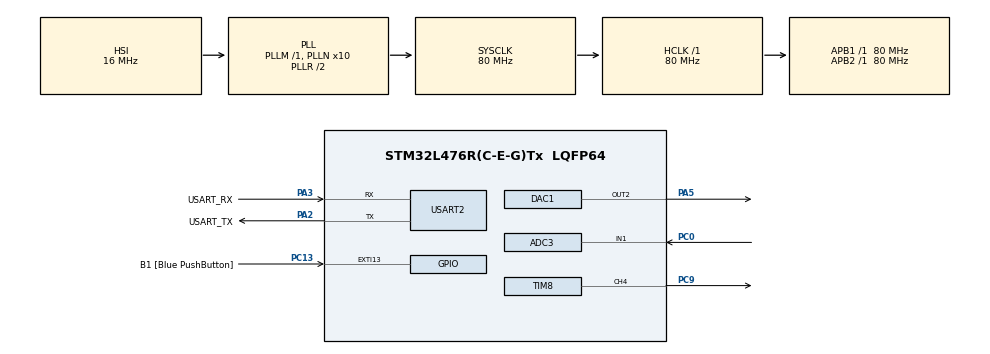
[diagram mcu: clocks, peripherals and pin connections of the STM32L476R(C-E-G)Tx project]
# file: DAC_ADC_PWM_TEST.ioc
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ADC3.Channel-2\#ChannelRegularConversion=ADC_CHANNEL_1
ADC3.ClockPrescaler=ADC_CLOCK_ASYNC_DIV1
ADC3.ContinuousConvMode=DISABLE
ADC3.DMAContinuousRequests=DISABLE
ADC3.DataAlign=ADC_DATAALIGN_RIGHT
ADC3.DiscontinuousConvMode=DISABLE
ADC3.EOCSelection=ADC_EOC_SINGLE_CONV
ADC3.EnableAnalogWatchDog1=false
ADC3.EnableAnalogWatchDog2=false
ADC3.EnableAnalogWatchDog3=false
ADC3.EnableInjectedConversion=DISABLE
ADC3.EnableRegularConversion=ENABLE
ADC3.ExternalTrigConv=ADC_SOFTWARE_START
ADC3.ExternalTrigConvEdge=ADC_EXTERNALTRIGCONVEDGE_NONE
ADC3.LowPowerAutoWait=DISABLE
ADC3.NbrOfConversion=1
ADC3.NbrOfConversionFlag=1
ADC3.OffsetNumber-2\#ChannelRegularConversion=ADC_OFFSET_NONE
ADC3.Overrun=ADC_OVR_DATA_PRESERVED
ADC3.OversamplingMode=DISABLE
ADC3.Rank-2\#ChannelRegularConversion=1
ADC3.Resolution=ADC_RESOLUTION_12B
ADC3.SamplingTime-2\#ChannelRegularConversion=ADC_SAMPLETIME_2CYCLES_5
ADC3.ScanConvMode=ADC_SCAN_DISABLE
DAC1.DAC_Channel-DAC_OUT2=DAC_CHANNEL_2
Mcu.Family=STM32L4
Mcu.Name=STM32L476R(C-E-G)Tx
Mcu.Package=LQFP64
NVIC.PriorityGroup=NVIC_PRIORITYGROUP_4
PA13\ (JTMS-SWDIO).GPIO_Label=TMS
PA13\ (JTMS-SWDIO).Mode=Serial_Wire
PA13\ (JTMS-SWDIO).Signal=SYS_JTMS-SWDIO
PA14\ (JTCK-SWCLK).GPIO_Label=TCK
PA14\ (JTCK-SWCLK).Mode=Serial_Wire
PA14\ (JTCK-SWCLK).Signal=SYS_JTCK-SWCLK
PA2.GPIO_Label=USART_TX
PA2.GPIO_Mode=GPIO_MODE_AF_PP
PA2.GPIO_PuPd=GPIO_NOPULL
PA2.GPIO_Speed=GPIO_SPEED_FREQ_VERY_HIGH
PA2.Mode=Asynchronous
PA2.Signal=USART2_TX
PA3.GPIO_Label=USART_RX
PA3.GPIO_Mode=GPIO_MODE_AF_PP
PA3.GPIO_PuPd=GPIO_NOPULL
PA3.GPIO_Speed=GPIO_SPEED_FREQ_VERY_HIGH
PA3.Mode=Asynchronous
PA3.Signal=USART2_RX
PA5.Signal=COMP_DAC12_group
PB3\ (JTDO-TRACESWO).GPIO_Label=SWO
PB3\ (JTDO-TRACESWO).Signal=SYS_JTDO-SWO
PC0.Signal=ADCx_IN1
PC13.GPIO_Label=B1 [Blue PushButton]
PC13.GPIO_ModeDefaultEXTI=GPIO_MODE_IT_FALLING
PC13.GPIO_PuPd=GPIO_NOPULL
PC13.Signal=GPXTI13
PC14-OSC32_IN\ (PC14).Mode=LSE-External-Oscillator
PC14-OSC32_IN\ (PC14).Signal=RCC_OSC32_IN
PC15-OSC32_OUT\ (PC15).Mode=LSE-External-Oscillator
PC15-OSC32_OUT\ (PC15).Signal=RCC_OSC32_OUT
PC9.Signal=S_TIM8_CH4
PH0-OSC_IN\ (PH0).Signal=RCC_OSC_IN
PH1-OSC_OUT\ (PH1).Signal=RCC_OSC_OUT
ProjectManager.HeapSize=0x200
ProjectManager.StackSize=0x400
ProjectManager.TargetToolchain=TrueSTUDIO
RCC.ADCFreq_Value=64000000
RCC.AHBFreq_Value=80000000
RCC.APB1Freq_Value=80000000
RCC.APB1TimFreq_Value=80000000
RCC.APB2Freq_Value=80000000
RCC.APB2TimFreq_Value=80000000
RCC.CortexFreq_Value=80000000
RCC.HCLKFreq_Value=80000000
RCC.HSE_VALUE=8000000
RCC.HSI_VALUE=16000000
RCC.MSI_VALUE=4000000
RCC.PLLN=10
RCC.PLLSourceVirtual=RCC_PLLSOURCE_HSI
RCC.PREFETCH_ENABLE=1
RCC.SYSCLKFreq_VALUE=80000000
RCC.SYSCLKSource=RCC_SYSCLKSOURCE_PLLCLK
RCC.USBFreq_Value=64000000
RCC.VCOOutputFreq_Value=160000000
SH.ADCx_IN1.0=ADC3_IN1,IN1-Single-Ended
SH.COMP_DAC12_group.0=DAC1_OUT2,DAC_OUT2
SH.S_TIM8_CH4.0=TIM8_CH4,PWM Generation4 CH4
TIM8.Channel-PWM\ Generation4\ CH4=TIM_CHANNEL_4
USART2.VirtualMode-Asynchronous=VM_ASYNC
board=NUCLEO-L476RG

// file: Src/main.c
/**
  ******************************************************************************
  * @file           : main.c
  * @brief          : Main program body
  ******************************************************************************
  ** This notice applies to any and all portions of this file
  * that are not between comment pairs USER CODE BEGIN and
  * USER CODE END. Other portions of this file, whether
  * inserted by the user or by software development tools
  * are owned by their respective copyright owners.
  *
  * COPYRIGHT(c) 2018 STMicroelectronics
  *
  * Redistribution and use in source and binary forms, with or without modification,
  * are permitted provided that the following conditions are met:
  *   1. Redistributions of source code must retain the above copyright notice,
  *      this list of conditions and the following disclaimer.
  *   2. Redistributions in binary form must reproduce the above copyright notice,
  *      this list of conditions and the following disclaimer in the documentation
  *      and/or other materials provided with the distribution.
  *   3. Neither the name of STMicroelectronics nor the names of its contributors
  *      may be used to endorse or promote products derived from this software
  *      without specific prior written permission.
  *
  * THIS SOFTWARE IS PROVIDED BY THE COPYRIGHT HOLDERS AND CONTRIBUTORS "AS IS"
  * AND ANY EXPRESS OR IMPLIED WARRANTIES, INCLUDING, BUT NOT LIMITED TO, THE
  * IMPLIED WARRANTIES OF MERCHANTABILITY AND FITNESS FOR A PARTICULAR PURPOSE ARE
  * DISCLAIMED. IN NO EVENT SHALL THE COPYRIGHT HOLDER OR CONTRIBUTORS BE LIABLE
  * FOR ANY DIRECT, INDIRECT, INCIDENTAL, SPECIAL, EXEMPLARY, OR CONSEQUENTIAL
  * DAMAGES (INCLUDING, BUT NOT LIMITED TO, PROCUREMENT OF SUBSTITUTE GOODS OR
  * SERVICES; LOSS OF USE, DATA, OR PROFITS; OR BUSINESS INTERRUPTION) HOWEVER
  * CAUSED AND ON ANY THEORY OF LIABILITY, WHETHER IN CONTRACT, STRICT LIABILITY,
  * OR TORT (INCLUDING NEGLIGENCE OR OTHERWISE) ARISING IN ANY WAY OUT OF THE USE
  * OF THIS SOFTWARE, EVEN IF ADVISED OF THE POSSIBILITY OF SUCH DAMAGE.
  *
  ******************************************************************************
  */
#include "main.h"
#include "stm32l4xx_hal.h"

ADC_HandleTypeDef hadc3;

DAC_HandleTypeDef hdac1;

TIM_HandleTypeDef htim8;

UART_HandleTypeDef huart2;

/* USER CODE BEGIN PV */
/* Private variables ---------------------------------------------------------*/

/* USER CODE END PV */

void SystemClock_Config(void);
static void MX_GPIO_Init(void);
static void MX_USART2_UART_Init(void);
static void MX_ADC3_Init(void);
static void MX_TIM8_Init(void);
static void MX_DAC1_Init(void);

void HAL_TIM_MspPostInit(TIM_HandleTypeDef *htim);

/* USER CODE BEGIN PFP */
/* Private function prototypes -----------------------------------------------*/
uint16_t ADC3_Get_Value(ADC_HandleTypeDef* hadc);
void DAC1_Set_Value(DAC_HandleTypeDef* hdac, uint32_t Channel, uint32_t Data);
/* USER CODE END PFP */

/* USER CODE BEGIN 0 */
/* Variable used to get converted value */
__IO uint16_t uhADCxConvertedValue = 0;
/* USER CODE END 0 */

int main(void)
{

  /* MCU Configuration----------------------------------------------------------*/

  /* Reset of all peripherals, Initializes the Flash interface and the Systick. */
  HAL_Init();

  /* Configure the system clock */
  SystemClock_Config();

  /* Initialize all configured peripherals */
  MX_GPIO_Init();
  MX_USART2_UART_Init();
  MX_ADC3_Init();
  MX_TIM8_Init();
  MX_DAC1_Init();
  /* USER CODE BEGIN 2 */

  /* Run the ADC calibration in single-ended mode */
  if (HAL_ADCEx_Calibration_Start(&hadc3, ADC_SINGLE_ENDED) != HAL_OK)
  {
    /* Calibration Error */
    Error_Handler();
  }
  /* USER CODE END 2 */

  /* Infinite loop */
  /* USER CODE BEGIN WHILE */
  while (1)
  {
	  // Get ADC value (wait for EOC to return)
	  uhADCxConvertedValue = ADC3_Get_Value(&hadc3);
	  // Set uhADCxConvertedValue as DAC level
	  DAC1_Set_Value(&hdac1, DAC_CHANNEL, uhADCxConvertedValue);

	  if(uhADCxConvertedValue >= (0xffff/2)){
		  //HAL_GPIO_WritePin(GPIOC, GPIO_PIN_13, GPIO_PIN_SET);
		  HAL_GPIO_WritePin(B1_GPIO_Port, B1_Pin, GPIO_PIN_SET);
	  }else{
		  //HAL_GPIO_WritePin(GPIOC, GPIO_PIN_13, GPIO_PIN_RESET);
		  HAL_GPIO_WritePin(B1_GPIO_Port, B1_Pin, GPIO_PIN_RESET);
	  }

  /* USER CODE END WHILE */

  }

}

void SystemClock_Config(void)
{

  RCC_OscInitTypeDef RCC_OscInitStruct;
  RCC_ClkInitTypeDef RCC_ClkInitStruct;
  RCC_PeriphCLKInitTypeDef PeriphClkInit;

    /**Initializes the CPU, AHB and APB busses clocks
    */
  RCC_OscInitStruct.OscillatorType = RCC_OSCILLATORTYPE_HSI;
  RCC_OscInitStruct.HSIState = RCC_HSI_ON;
  RCC_OscInitStruct.HSICalibrationValue = 16;
  RCC_OscInitStruct.PLL.PLLState = RCC_PLL_ON;
  RCC_OscInitStruct.PLL.PLLSource = RCC_PLLSOURCE_HSI;
  RCC_OscInitStruct.PLL.PLLM = 1;
  RCC_OscInitStruct.PLL.PLLN = 10;
  RCC_OscInitStruct.PLL.PLLP = RCC_PLLP_DIV7;
  RCC_OscInitStruct.PLL.PLLQ = RCC_PLLQ_DIV2;
  RCC_OscInitStruct.PLL.PLLR = RCC_PLLR_DIV2;
  if (HAL_RCC_OscConfig(&RCC_OscInitStruct) != HAL_OK)
  {
    _Error_Handler(__FILE__, __LINE__);
  }

    /**Initializes the CPU, AHB and APB busses clocks
    */
  RCC_ClkInitStruct.ClockType = RCC_CLOCKTYPE_HCLK|RCC_CLOCKTYPE_SYSCLK
                              |RCC_CLOCKTYPE_PCLK1|RCC_CLOCKTYPE_PCLK2;
  RCC_ClkInitStruct.SYSCLKSource = RCC_SYSCLKSOURCE_PLLCLK;
  RCC_ClkInitStruct.AHBCLKDivider = RCC_SYSCLK_DIV1;
  RCC_ClkInitStruct.APB1CLKDivider = RCC_HCLK_DIV1;
  RCC_ClkInitStruct.APB2CLKDivider = RCC_HCLK_DIV1;

  if (HAL_RCC_ClockConfig(&RCC_ClkInitStruct, FLASH_LATENCY_4) != HAL_OK)
  {
    _Error_Handler(__FILE__, __LINE__);
  }

  PeriphClkInit.PeriphClockSelection = RCC_PERIPHCLK_USART2|RCC_PERIPHCLK_ADC;
  PeriphClkInit.Usart2ClockSelection = RCC_USART2CLKSOURCE_PCLK1;
  PeriphClkInit.AdcClockSelection = RCC_ADCCLKSOURCE_PLLSAI1;
  PeriphClkInit.PLLSAI1.PLLSAI1Source = RCC_PLLSOURCE_HSI;
  PeriphClkInit.PLLSAI1.PLLSAI1M = 1;
  PeriphClkInit.PLLSAI1.PLLSAI1N = 8;
  PeriphClkInit.PLLSAI1.PLLSAI1P = RCC_PLLP_DIV7;
  PeriphClkInit.PLLSAI1.PLLSAI1Q = RCC_PLLQ_DIV2;
  PeriphClkInit.PLLSAI1.PLLSAI1R = RCC_PLLR_DIV2;
  PeriphClkInit.PLLSAI1.PLLSAI1ClockOut = RCC_PLLSAI1_ADC1CLK;
  if (HAL_RCCEx_PeriphCLKConfig(&PeriphClkInit) != HAL_OK)
  {
    _Error_Handler(__FILE__, __LINE__);
  }

    /**Configure the main internal regulator output voltage
    */
  if (HAL_PWREx_ControlVoltageScaling(PWR_REGULATOR_VOLTAGE_SCALE1) != HAL_OK)
  {
    _Error_Handler(__FILE__, __LINE__);
  }

    /**Configure the Systick interrupt time
    */
  HAL_SYSTICK_Config(HAL_RCC_GetHCLKFreq()/1000);

    /**Configure the Systick
    */
  HAL_SYSTICK_CLKSourceConfig(SYSTICK_CLKSOURCE_HCLK);

  /* SysTick_IRQn interrupt configuration */
  HAL_NVIC_SetPriority(SysTick_IRQn, 0, 0);
}

/* ADC3 init function */
static void MX_ADC3_Init(void)
{

  ADC_ChannelConfTypeDef sConfig;

    /**Common config
    */
  hadc3.Instance = ADC3;
  hadc3.Init.ClockPrescaler = ADC_CLOCK_ASYNC_DIV1;
  hadc3.Init.Resolution = ADC_RESOLUTION_12B;
  hadc3.Init.DataAlign = ADC_DATAALIGN_RIGHT;
  hadc3.Init.ScanConvMode = ADC_SCAN_DISABLE;
  hadc3.Init.EOCSelection = ADC_EOC_SINGLE_CONV;
  hadc3.Init.LowPowerAutoWait = DISABLE;
  hadc3.Init.ContinuousConvMode = DISABLE;
  hadc3.Init.NbrOfConversion = 1;
  hadc3.Init.DiscontinuousConvMode = DISABLE;
  hadc3.Init.ExternalTrigConv = ADC_SOFTWARE_START;
  hadc3.Init.ExternalTrigConvEdge = ADC_EXTERNALTRIGCONVEDGE_NONE;
  hadc3.Init.DMAContinuousRequests = DISABLE;
  hadc3.Init.Overrun = ADC_OVR_DATA_PRESERVED;
  hadc3.Init.OversamplingMode = DISABLE;
  if (HAL_ADC_Init(&hadc3) != HAL_OK)
  {
    _Error_Handler(__FILE__, __LINE__);
  }

    /**Configure Regular Channel
    */
  sConfig.Channel = ADC_CHANNEL_1;
  sConfig.Rank = ADC_REGULAR_RANK_1;
  sConfig.SamplingTime = ADC_SAMPLETIME_2CYCLES_5;
  sConfig.SingleDiff = ADC_SINGLE_ENDED;
  sConfig.OffsetNumber = ADC_OFFSET_NONE;
  sConfig.Offset = 0;
  if (HAL_ADC_ConfigChannel(&hadc3, &sConfig) != HAL_OK)
  {
    _Error_Handler(__FILE__, __LINE__);
  }

  if (HAL_ADC_ConfigChannel(&hadc3, &sConfig) != HAL_OK)
  {
    /* Channel Configuration Error */
    Error_Handler();
  }

}

/* DAC1 init function */
static void MX_DAC1_Init(void)
{

  DAC_ChannelConfTypeDef sConfig;

    /**DAC Initialization
    */
  hdac1.Instance = DAC1;
  if (HAL_DAC_Init(&hdac1) != HAL_OK)
  {
    _Error_Handler(__FILE__, __LINE__);
  }

    /**DAC channel OUT2 config
    */
  sConfig.DAC_SampleAndHold = DAC_SAMPLEANDHOLD_DISABLE;
  sConfig.DAC_Trigger = DAC_TRIGGER_NONE;
  sConfig.DAC_OutputBuffer = DAC_OUTPUTBUFFER_ENABLE;
  sConfig.DAC_ConnectOnChipPeripheral = DAC_CHIPCONNECT_DISABLE;
  sConfig.DAC_UserTrimming = DAC_TRIMMING_FACTORY;
  if (HAL_DAC_ConfigChannel(&hdac1, &sConfig, DAC_CHANNEL_2) != HAL_OK)
  {
    _Error_Handler(__FILE__, __LINE__);
  }

}

/* TIM8 init function */
static void MX_TIM8_Init(void)
{

  TIM_MasterConfigTypeDef sMasterConfig;
  TIM_OC_InitTypeDef sConfigOC;
  TIM_BreakDeadTimeConfigTypeDef sBreakDeadTimeConfig;

  htim8.Instance = TIM8;
  htim8.Init.Prescaler = 0;
  htim8.Init.CounterMode = TIM_COUNTERMODE_UP;
  htim8.Init.Period = 0;
  htim8.Init.ClockDivision = TIM_CLOCKDIVISION_DIV1;
  htim8.Init.RepetitionCounter = 0;
  htim8.Init.AutoReloadPreload = TIM_AUTORELOAD_PRELOAD_DISABLE;
  if (HAL_TIM_PWM_Init(&htim8) != HAL_OK)
  {
    _Error_Handler(__FILE__, __LINE__);
  }

  sMasterConfig.MasterOutputTrigger = TIM_TRGO_RESET;
  sMasterConfig.MasterOutputTrigger2 = TIM_TRGO2_RESET;
  sMasterConfig.MasterSlaveMode = TIM_MASTERSLAVEMODE_DISABLE;
  if (HAL_TIMEx_MasterConfigSynchronization(&htim8, &sMasterConfig) != HAL_OK)
  {
    _Error_Handler(__FILE__, __LINE__);
  }

  sConfigOC.OCMode = TIM_OCMODE_PWM1;
  sConfigOC.Pulse = 0;
  sConfigOC.OCPolarity = TIM_OCPOLARITY_HIGH;
  sConfigOC.OCFastMode = TIM_OCFAST_DISABLE;
  sConfigOC.OCIdleState = TIM_OCIDLESTATE_RESET;
  sConfigOC.OCNIdleState = TIM_OCNIDLESTATE_RESET;
  if (HAL_TIM_PWM_ConfigChannel(&htim8, &sConfigOC, TIM_CHANNEL_4) != HAL_OK)
  {
    _Error_Handler(__FILE__, __LINE__);
  }

  sBreakDeadTimeConfig.OffStateRunMode = TIM_OSSR_DISABLE;
  sBreakDeadTimeConfig.OffStateIDLEMode = TIM_OSSI_DISABLE;
  sBreakDeadTimeConfig.LockLevel = TIM_LOCKLEVEL_OFF;
  sBreakDeadTimeConfig.DeadTime = 0;
  sBreakDeadTimeConfig.BreakState = TIM_BREAK_DISABLE;
  sBreakDeadTimeConfig.BreakPolarity = TIM_BREAKPOLARITY_HIGH;
  sBreakDeadTimeConfig.BreakFilter = 0;
  sBreakDeadTimeConfig.Break2State = TIM_BREAK2_DISABLE;
  sBreakDeadTimeConfig.Break2Polarity = TIM_BREAK2POLARITY_HIGH;
  sBreakDeadTimeConfig.Break2Filter = 0;
  sBreakDeadTimeConfig.AutomaticOutput = TIM_AUTOMATICOUTPUT_DISABLE;
  if (HAL_TIMEx_ConfigBreakDeadTime(&htim8, &sBreakDeadTimeConfig) != HAL_OK)
  {
    _Error_Handler(__FILE__, __LINE__);
  }

  HAL_TIM_MspPostInit(&htim8);

}

/* USART2 init function */
static void MX_USART2_UART_Init(void)
{

  huart2.Instance = USART2;
  huart2.Init.BaudRate = 115200;
  huart2.Init.WordLength = UART_WORDLENGTH_8B;
  huart2.Init.StopBits = UART_STOPBITS_1;
  huart2.Init.Parity = UART_PARITY_NONE;
  huart2.Init.Mode = UART_MODE_TX_RX;
  huart2.Init.HwFlowCtl = UART_HWCONTROL_NONE;
  huart2.Init.OverSampling = UART_OVERSAMPLING_16;
  huart2.Init.OneBitSampling = UART_ONE_BIT_SAMPLE_DISABLE;
  huart2.AdvancedInit.AdvFeatureInit = UART_ADVFEATURE_NO_INIT;
  if (HAL_UART_Init(&huart2) != HAL_OK)
  {
    _Error_Handler(__FILE__, __LINE__);
  }

}

/** Configure pins as
        * Analog
        * Input
        * Output
        * EVENT_OUT
        * EXTI
*/
static void MX_GPIO_Init(void)
{

  GPIO_InitTypeDef GPIO_InitStruct;

  /* GPIO Ports Clock Enable */
  __HAL_RCC_GPIOC_CLK_ENABLE();
  __HAL_RCC_GPIOH_CLK_ENABLE();
  __HAL_RCC_GPIOA_CLK_ENABLE();
  __HAL_RCC_GPIOB_CLK_ENABLE();

  /*Configure GPIO pin : B1_Pin */
  GPIO_InitStruct.Pin = B1_Pin;
  GPIO_InitStruct.Mode = GPIO_MODE_IT_FALLING;
  GPIO_InitStruct.Pull = GPIO_NOPULL;
  HAL_GPIO_Init(B1_GPIO_Port, &GPIO_InitStruct);

}

/* USER CODE BEGIN 4 */
uint16_t ADC3_Get_Value(ADC_HandleTypeDef* hadc){

	  if (HAL_ADC_Start(hadc) != HAL_OK)
	  {
		Error_Handler();
		return 0;
	  }

	  if (HAL_ADC_PollForConversion(hadc, 10) != HAL_OK)
	  {
		Error_Handler();
		return 0;
	  }
	  else
	  {
		return HAL_ADC_GetValue(hadc);
	  }
}

void DAC1_Set_Value(DAC_HandleTypeDef* hdac, uint32_t Channel, uint32_t Data){
	/*##-3- Set DAC Channel1 DHR register ######################################*/
	  if (HAL_DAC_SetValue(hdac, Channel, DAC_ALIGN_8B_R, Data) != HAL_OK)
	  {
	    /* Setting value Error */
	    Error_Handler();
	  }

	  /*##-4- Enable DAC Channel1 ################################################*/
	  if (HAL_DAC_Start(hdac, Channel) != HAL_OK)
	  {
	    /* Start Error */
	    Error_Handler();
	  }
}
/* USER CODE END 4 */

void _Error_Handler(char *file, int line)
{
  while(1)
  {
  }
}

/************************ (C) COPYRIGHT STMicroelectronics *****END OF FILE****/
